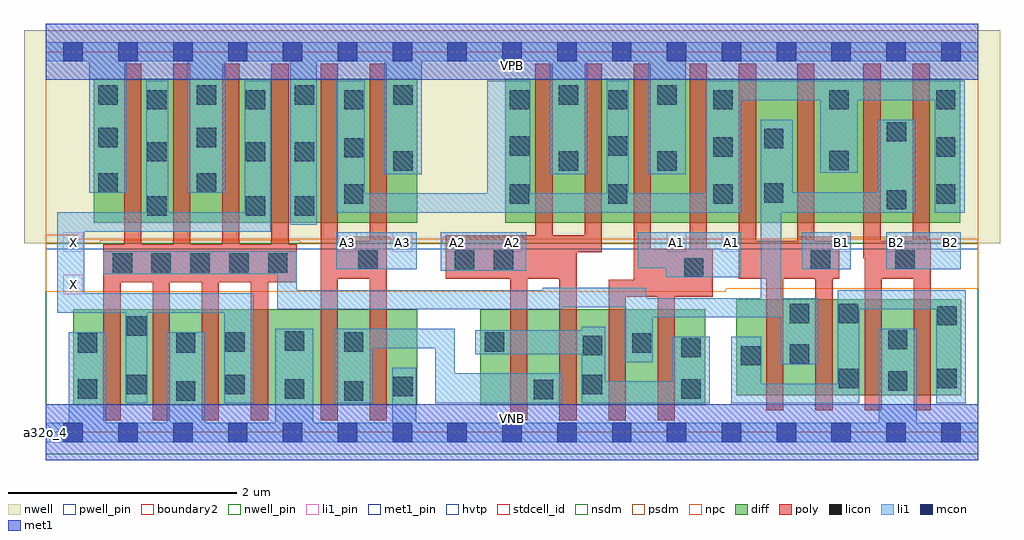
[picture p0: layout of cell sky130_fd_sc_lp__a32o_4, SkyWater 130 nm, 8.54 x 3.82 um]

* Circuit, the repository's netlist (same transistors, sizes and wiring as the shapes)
* Copyright 2020 The SkyWater PDK Authors
*
* Licensed under the Apache License, Version 2.0 (the "License");
* you may not use this file except in compliance with the License.
* You may obtain a copy of the License at
*
*     https://www.apache.org/licenses/LICENSE-2.0
*
* Unless required by applicable law or agreed to in writing, software
* distributed under the License is distributed on an "AS IS" BASIS,
* WITHOUT WARRANTIES OR CONDITIONS OF ANY KIND, either express or implied.
* See the License for the specific language governing permissions and
* limitations under the License.
*
* SPDX-License-Identifier: Apache-2.0

.SUBCKT sky130_fd_sc_lp__a32o_4 A1 A2 A3 B1 B2 VGND VNB VPB VPWR X
*.PININFO A1:I A2:I A3:I B1:I B2:I VGND:I VNB:I VPB:I VPWR:I X:O
MMPA0 pndA A1 VPWR VPB sky130_fd_pr__pfet_01v8_hvt m=2 w=1.26U l=0.15U mult=1 sa=0.265
+ sb=0.265 sd=0.28 area=0.063 perim=1.14
MMPA1 pndA A2 VPWR VPB sky130_fd_pr__pfet_01v8_hvt m=2 w=1.26U l=0.15U mult=1 sa=0.265
+ sb=0.265 sd=0.28 area=0.063 perim=1.14
MMPA2 pndA A3 VPWR VPB sky130_fd_pr__pfet_01v8_hvt m=2 w=1.26U l=0.15U mult=1 sa=0.265
+ sb=0.265 sd=0.28 area=0.063 perim=1.14
MMPB0 y B1 pndA VPB sky130_fd_pr__pfet_01v8_hvt m=2 w=1.26U l=0.15U mult=1 sa=0.265
+ sb=0.265 sd=0.28 area=0.063 perim=1.14
MMPB1 y B2 pndA VPB sky130_fd_pr__pfet_01v8_hvt m=2 w=1.26U l=0.15U mult=1 sa=0.265
+ sb=0.265 sd=0.28 area=0.063 perim=1.14
MMIPX X y VPWR VPB sky130_fd_pr__pfet_01v8_hvt m=4 w=1.26U l=0.15U mult=1 sa=0.265
+ sb=0.265 sd=0.28 area=0.063 perim=1.14
MMNA0 y A1 sndA1 VNB sky130_fd_pr__nfet_01v8 m=2 w=0.84U l=0.15U mult=1 sa=0.265
+ sb=0.265 sd=0.28 area=0.063 perim=1.14
MMNA1 sndA1 A2 sndA2 VNB sky130_fd_pr__nfet_01v8 m=2 w=0.84U l=0.15U mult=1 sa=0.265
+ sb=0.265 sd=0.28 area=0.063 perim=1.14
MMNA2 sndA2 A3 VGND VNB sky130_fd_pr__nfet_01v8 m=2 w=0.84U l=0.15U mult=1 sa=0.265
+ sb=0.265 sd=0.28 area=0.063 perim=1.14
MMNB0 y B1 sndB1 VNB sky130_fd_pr__nfet_01v8 m=2 w=0.84U l=0.15U mult=1 sa=0.265
+ sb=0.265 sd=0.28 area=0.063 perim=1.14
MMNB1 sndB1 B2 VGND VNB sky130_fd_pr__nfet_01v8 m=2 w=0.84U l=0.15U mult=1 sa=0.265
+ sb=0.265 sd=0.28 area=0.063 perim=1.14
MMINX X y VGND VNB sky130_fd_pr__nfet_01v8 m=4 w=0.84U l=0.15U mult=1 sa=0.265
+ sb=0.265 sd=0.28 area=0.063 perim=1.14
.ENDS sky130_fd_sc_lp__a32o_4

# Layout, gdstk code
import gdstk
lib = gdstk.Library(unit=1e-6, precision=1e-09)
def R(c, l, rs):  # rectangles x0, y0, x1, y1
    for r in rs: c.add(gdstk.rectangle(r[:2], r[2:], *l))
def A(c, l, x, y, w, h, nx, ny, dx, dy):  # array of equal rectangles
    R(c, l, [(x+i*dx, y+j*dy, x+i*dx+w, y+j*dy+h) for i in range(nx) for j in range(ny)])
def P(c, l, *ps):  # polygons
    for p in ps: c.add(gdstk.Polygon(p, *l))
nwell_pin = (64, 16)
nwell = (64, 20)
diff = (65, 20)
poly = (66, 20)
licon = (66, 44)
li1_pin = (67, 16)
li1 = (67, 20)
mcon = (67, 44)
met1_pin = (68, 16)
met1 = (68, 20)
hvtp = (78, 44)
stdcell_id = (81, 4)
nsdm = (93, 44)
psdm = (94, 20)
npc = (95, 20)
pwell_pin = (122, 16)
boundary2 = (236, 0)

sky130_fd_sc_lp__a32o_4 = lib.new_cell('sky130_fd_sc_lp__a32o_4')
R(sky130_fd_sc_lp__a32o_4, nwell_pin, [(0,3.085,8.16,3.33)])
R(sky130_fd_sc_lp__a32o_4, nwell, [(-0.19,1.655,8.35,3.52)])
R(sky130_fd_sc_lp__a32o_4, diff, [(0.24,0.235,3.25,1.075), (3.8,0.235,5.77,1.075), (6.04,0.325,8.01,1.165), (0.42,1.835,3.25,3.095), (4.02,1.835,8,3.095)])
P(sky130_fd_sc_lp__a32o_4, poly, [(2.195,1.645),(2.125,1.645),(2.125,3.225),(1.975,3.225),(1.975,1.645),(1.695,1.645),(1.695,3.225),(1.545,3.225),(1.545,1.645),(1.265,1.645),(1.265,3.225),(1.115,3.225),(1.115,1.645),(0.835,1.645),(0.835,3.225),(0.685,3.225),(0.685,1.645),(0.505,1.645),(0.505,0.105),(0.655,0.105),(0.655,1.315),(0.935,1.315),(0.935,0.105),(1.085,0.105),(1.085,1.315),(1.365,1.315),(1.365,0.105),(1.515,0.105),(1.515,1.315),(1.795,1.315),(1.795,0.105),(1.945,0.105),(1.945,1.315),(2.195,1.315)],
  [(2.985,3.225),(2.835,3.225),(2.835,1.675),(2.555,1.675),(2.555,3.225),(2.405,3.225),(2.405,0.105),(2.555,0.105),(2.555,1.345),(2.835,1.345),(2.835,0.105),(2.985,0.105)],
  [(7.745,1.675),(7.735,1.675),(7.735,3.225),(7.585,3.225),(7.585,1.675),(7.305,1.675),(7.305,3.225),(7.155,3.225),(7.155,1.525),(7.165,1.525),(7.165,0.195),(7.315,0.195),(7.315,1.345),(7.595,1.345),(7.595,0.195),(7.745,0.195)],
  [(6.945,1.675),(6.725,1.675),(6.725,3.225),(6.575,3.225),(6.575,1.675),(6.215,1.675),(6.215,3.225),(6.065,3.225),(6.065,1.345),(6.305,1.345),(6.305,0.195),(6.455,0.195),(6.455,1.345),(6.735,1.345),(6.735,0.195),(6.885,0.195),(6.885,1.345),(6.945,1.345)],
  [(5.835,1.605),(5.785,1.605),(5.785,3.225),(5.635,3.225),(5.635,1.605),(5.295,1.605),(5.295,3.225),(5.145,3.225),(5.145,1.335),(4.925,1.335),(4.925,0.105),(5.075,0.105),(5.075,1.185),(5.355,1.185),(5.355,0.105),(5.505,0.105),(5.505,1.185),(5.835,1.185)],
  [(4.865,3.225),(4.715,3.225),(4.715,1.725),(4.435,1.725),(4.435,3.225),(4.285,3.225),(4.285,1.725),(3.5,1.725),(3.5,1.345),(4.065,1.345),(4.065,0.105),(4.215,0.105),(4.215,1.345),(4.495,1.345),(4.495,0.105),(4.645,0.105),(4.645,1.575),(4.865,1.575)])
A(sky130_fd_sc_lp__a32o_4, licon, 0.585, 1.395, 0.17, 0.17, 5, 1, 0.34, 0)
A(sky130_fd_sc_lp__a32o_4, licon, 0.89, 2.825, 0.17, 0.17, 3, 1, 0.86, 0)
A(sky130_fd_sc_lp__a32o_4, licon, 0.46, 2.865, 0.17, 0.17, 4, 1, 0.86, 0)
R(sky130_fd_sc_lp__a32o_4, licon, [(1.14,0.275,1.31,0.445), (2.61,0.275,2.78,0.445), (4.27,0.29,4.44,0.46), (0.28,0.295,0.45,0.465), (2.09,0.295,2.26,0.465), (5.56,0.295,5.73,0.465), (3.04,0.315,3.21,0.485), (0.71,0.335,0.88,0.505), (1.57,0.335,1.74,0.505), (4.7,0.335,4.87,0.505), (7.37,0.365,7.54,0.535), (6.94,0.385,7.11,0.555), (7.8,0.385,7.97,0.555), (6.08,0.585,6.25,0.755), (6.51,0.6,6.68,0.77), (5.56,0.655,5.73,0.825), (4.7,0.675,4.87,0.845), (0.28,0.695,0.45,0.865), (1.14,0.695,1.31,0.865), (5.13,0.695,5.3,0.865), (1.57,0.705,1.74,0.875), (2.61,0.705,2.78,0.875), (3.84,0.705,4.01,0.875), (2.09,0.715,2.26,0.885), (7.37,0.725,7.54,0.895), (0.71,0.845,0.88,1.015), (7.8,0.935,7.97,1.105), (6.51,0.955,6.68,1.125), (6.94,0.955,7.11,1.125), (5.585,1.355,5.755,1.525), (2.735,1.425,2.905,1.595), (3.58,1.425,3.75,1.595), (3.92,1.425,4.09,1.595), (6.695,1.425,6.865,1.595), (7.435,1.425,7.605,1.595), (0.89,1.895,1.06,2.065), (1.75,1.895,1.92,2.065), (2.18,1.895,2.35,2.065), (7.36,1.95,7.53,2.12), (2.61,2,2.78,2.17), (4.06,2,4.23,2.17), (4.92,2,5.09,2.17), (5.84,2,6.01,2.17), (7.79,2,7.96,2.17), (6.285,2.01,6.455,2.18), (0.46,2.095,0.63,2.265), (1.32,2.095,1.49,2.265), (3.04,2.29,3.21,2.46), (4.49,2.29,4.66,2.46), (5.35,2.29,5.52,2.46), (6.855,2.295,7.025,2.465), (0.89,2.37,1.06,2.54), (1.75,2.37,1.92,2.54), (2.18,2.37,2.35,2.54), (2.61,2.405,2.78,2.575), (5.84,2.41,6.01,2.58), (7.79,2.41,7.96,2.58), (4.06,2.42,4.23,2.59), (4.92,2.42,5.09,2.59), (6.285,2.485,6.455,2.655), (0.46,2.495,0.63,2.665), (1.32,2.495,1.49,2.665), (7.36,2.545,7.53,2.715), (4.06,2.825,4.23,2.995), (4.92,2.825,5.09,2.995), (5.84,2.825,6.01,2.995), (6.855,2.825,7.025,2.995), (7.79,2.825,7.96,2.995), (4.49,2.865,4.66,3.035), (5.35,2.865,5.52,3.035)])
A(sky130_fd_sc_lp__a32o_4, li1_pin, 2.555, 1.58, 0.17, 0.17, 4, 1, 0.48, 0)
A(sky130_fd_sc_lp__a32o_4, li1_pin, 6.875, 1.58, 0.17, 0.17, 3, 1, 0.48, 0)
R(sky130_fd_sc_lp__a32o_4, li1_pin, [(0.155,1.21,0.325,1.38), (0.155,1.58,0.325,1.75), (5.435,1.58,5.605,1.75), (5.915,1.58,6.085,1.75)])
R(sky130_fd_sc_lp__a32o_4, li1, [(3.455,1.415,4.205,1.75), (2.54,1.425,3.245,1.75), (6.615,1.425,7.045,1.75), (7.355,1.425,8.005,1.75)])
P(sky130_fd_sc_lp__a32o_4, li1, [(8.16,3.415),(0,3.415),(0,3.245),(0.38,3.245),(0.38,2.095),(0.71,2.095),(0.71,3.245),(1.24,3.245),(1.24,2.095),(1.57,2.095),(1.57,3.245),(2.14,3.245),(2.14,1.815),(2.37,1.815),(2.37,3.245),(2.96,3.245),(2.96,2.26),(3.29,2.26),(3.29,3.245),(4.41,3.245),(4.41,2.26),(4.74,2.26),(4.74,3.245),(5.27,3.245),(5.27,2.26),(5.6,2.26),(5.6,3.245),(8.16,3.245)],
  [(1.97,3.075),(1.74,3.075),(1.74,1.925),(1.07,1.925),(1.07,3.075),(0.88,3.075),(0.88,1.925),(0.1,1.925),(0.1,1.045),(0.7,1.045),(0.7,0.255),(0.89,0.255),(0.89,1.045),(1.56,1.045),(1.56,0.255),(1.82,0.255),(1.82,1.215),(0.335,1.215),(0.335,1.755),(1.97,1.755)],
  [(8.05,1.245),(6.93,1.245),(6.93,0.425),(6.26,0.425),(6.26,0.835),(6,0.835),(6,0.255),(7.12,0.255),(7.12,1.075),(7.79,1.075),(7.79,0.255),(8.05,0.255)],
  [(8.16,0.085),(7.62,0.085),(7.62,0.905),(7.29,0.905),(7.29,0.085),(3.24,0.085),(3.24,0.565),(3.03,0.565),(3.03,0.085),(2.34,0.085),(2.34,0.905),(2.01,0.905),(2.01,0.085),(1.39,0.085),(1.39,0.875),(1.06,0.875),(1.06,0.085),(0.53,0.085),(0.53,0.875),(0.2,0.875),(0.2,0.085),(0,0.085),(0,-0.085),(8.16,-0.085)],
  [(4.52,0.515),(3.58,0.515),(3.58,0.905),(2.53,0.905),(2.53,0.255),(2.86,0.255),(2.86,0.735),(3.41,0.735),(3.41,0.255),(4.52,0.255)],
  [(7.61,2.735),(7.28,2.735),(7.28,2.1),(6.535,2.1),(6.535,2.735),(6.255,2.735),(6.255,1.175),(5.255,1.175),(5.255,1.265),(4.35,1.265),(4.35,1.245),(2.195,1.245),(2.195,1.585),(0.505,1.585),(0.505,1.385),(2.025,1.385),(2.025,1.075),(4.52,1.075),(4.52,1.095),(5.065,1.095),(5.065,0.615),(5.31,0.615),(5.31,1.005),(6.43,1.005),(6.43,0.595),(6.76,0.595),(6.76,1.175),(6.435,1.175),(6.435,1.92),(7.61,1.92)],
  [(6.085,1.75),(5.18,1.75),(5.18,1.435),(5.425,1.435),(5.425,1.355),(6.085,1.355)],
  [(5.81,0.835),(5.48,0.835),(5.48,0.445),(4.895,0.445),(4.895,0.925),(4.69,0.925),(4.69,0.895),(3.76,0.895),(3.76,0.685),(4.69,0.685),(4.69,0.255),(5.81,0.255)],
  [(8.04,3.075),(5.77,3.075),(5.77,2.09),(5.1,2.09),(5.1,3.075),(4.91,3.075),(4.91,2.09),(4.24,2.09),(4.24,3.075),(3.865,3.075),(3.865,2.09),(2.79,2.09),(2.79,3.075),(2.54,3.075),(2.54,1.92),(6.085,1.92),(6.085,2.905),(6.775,2.905),(6.775,2.27),(7.105,2.27),(7.105,2.905),(7.78,2.905),(7.78,1.92),(8.04,1.92)])
A(sky130_fd_sc_lp__a32o_4, mcon, 0.155, -0.085, 0.17, 0.17, 17, 2, 0.48, 3.33)
R(sky130_fd_sc_lp__a32o_4, met1_pin, [(0,0,8.16,0.245), (0,3.085,8.16,3.33)])
R(sky130_fd_sc_lp__a32o_4, met1, [(0,-0.245,8.16,0.245), (0,3.085,8.16,3.575)])
R(sky130_fd_sc_lp__a32o_4, hvtp, [(0,1.6,8.16,3.33)])
R(sky130_fd_sc_lp__a32o_4, stdcell_id, [(0,0,8.16,3.33)])
R(sky130_fd_sc_lp__a32o_4, nsdm, [(0,-0.19,8.16,1.655)])
P(sky130_fd_sc_lp__a32o_4, psdm, [(8.16,3.52),(0,3.52),(0,1.655),(0.475,1.655),(0.475,1.675),(2.225,1.675),(2.225,1.655),(2.625,1.655),(2.625,1.705),(3.015,1.705),(3.015,1.655),(3.475,1.655),(3.475,1.705),(4.2,1.705),(4.2,1.655),(6.585,1.655),(6.585,1.705),(7.715,1.705),(7.715,1.655),(8.16,1.655)])
P(sky130_fd_sc_lp__a32o_4, npc, [(8.16,1.695),(0.28,1.695),(0.28,1.73),(0,1.73),(0,1.23),(5.95,1.23),(5.95,1.255),(8.16,1.255)])
R(sky130_fd_sc_lp__a32o_4, pwell_pin, [(0,0,8.16,0.245)])
R(sky130_fd_sc_lp__a32o_4, boundary2, [(0,0,8.16,3.33)])
sky130_fd_sc_lp__a32o_4.add(gdstk.Label('VNB', (4.08,0.123), layer=64, texttype=59))
sky130_fd_sc_lp__a32o_4.add(gdstk.Label('VPB', (4.08,3.208), layer=64, texttype=5))
sky130_fd_sc_lp__a32o_4.add(gdstk.Label('a32o_4', (0,0), layer=83, texttype=44))
sky130_fd_sc_lp__a32o_4.add(gdstk.Label('VPWR', (4.08,3.208), layer=68, texttype=5))
sky130_fd_sc_lp__a32o_4.add(gdstk.Label('VGND', (4.08,0.123), layer=68, texttype=5))
sky130_fd_sc_lp__a32o_4.add(gdstk.Label('A3', (2.64,1.665), layer=67, texttype=5))
sky130_fd_sc_lp__a32o_4.add(gdstk.Label('A3', (3.12,1.665), layer=67, texttype=5))
sky130_fd_sc_lp__a32o_4.add(gdstk.Label('B1', (6.96,1.665), layer=67, texttype=5))
sky130_fd_sc_lp__a32o_4.add(gdstk.Label('B2', (7.44,1.665), layer=67, texttype=5))
sky130_fd_sc_lp__a32o_4.add(gdstk.Label('B2', (7.92,1.665), layer=67, texttype=5))
sky130_fd_sc_lp__a32o_4.add(gdstk.Label('A1', (5.52,1.665), layer=67, texttype=5))
sky130_fd_sc_lp__a32o_4.add(gdstk.Label('A1', (6,1.665), layer=67, texttype=5))
sky130_fd_sc_lp__a32o_4.add(gdstk.Label('A2', (3.6,1.665), layer=67, texttype=5))
sky130_fd_sc_lp__a32o_4.add(gdstk.Label('A2', (4.08,1.665), layer=67, texttype=5))
sky130_fd_sc_lp__a32o_4.add(gdstk.Label('X', (0.24,1.295), layer=67, texttype=5))
sky130_fd_sc_lp__a32o_4.add(gdstk.Label('X', (0.24,1.665), layer=67, texttype=5))

lib.write_gds('sky130_fd_sc_lp__a32o_4.gds')
